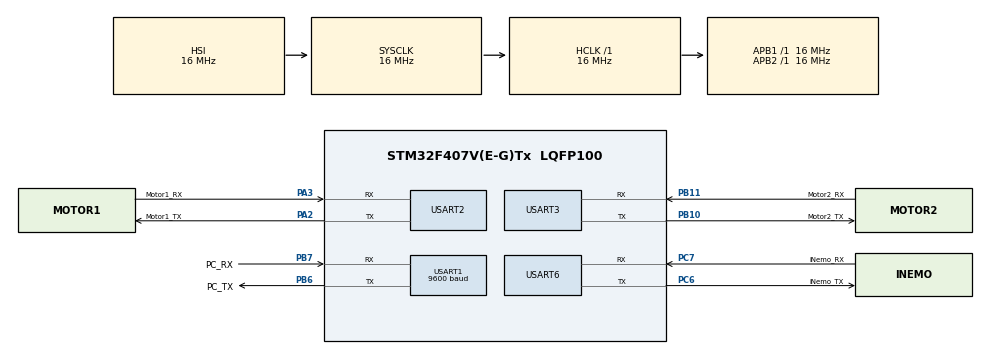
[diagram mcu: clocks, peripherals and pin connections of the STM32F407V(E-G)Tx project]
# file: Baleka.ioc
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Dma.Request0=USART3_RX
Dma.Request1=USART3_TX
Dma.Request2=USART2_RX
Dma.Request3=USART2_TX
Dma.Request4=USART6_RX
Dma.Request5=USART6_TX
Dma.Request6=USART1_RX
Dma.Request7=USART1_TX
Dma.USART1_RX.6.Direction=DMA_PERIPH_TO_MEMORY
Dma.USART1_RX.6.FIFOMode=DMA_FIFOMODE_DISABLE
Dma.USART1_RX.6.Instance=DMA2_Stream2
Dma.USART1_RX.6.MemDataAlignment=DMA_MDATAALIGN_BYTE
Dma.USART1_RX.6.MemInc=DMA_MINC_ENABLE
Dma.USART1_RX.6.Mode=DMA_CIRCULAR
Dma.USART1_RX.6.PeriphDataAlignment=DMA_PDATAALIGN_BYTE
Dma.USART1_RX.6.PeriphInc=DMA_PINC_DISABLE
Dma.USART1_RX.6.Priority=DMA_PRIORITY_HIGH
Dma.USART1_TX.7.Direction=DMA_MEMORY_TO_PERIPH
Dma.USART1_TX.7.FIFOMode=DMA_FIFOMODE_DISABLE
Dma.USART1_TX.7.Instance=DMA2_Stream7
Dma.USART1_TX.7.MemDataAlignment=DMA_MDATAALIGN_BYTE
Dma.USART1_TX.7.MemInc=DMA_MINC_ENABLE
Dma.USART1_TX.7.Mode=DMA_CIRCULAR
Dma.USART1_TX.7.PeriphDataAlignment=DMA_PDATAALIGN_BYTE
Dma.USART1_TX.7.PeriphInc=DMA_PINC_DISABLE
Dma.USART1_TX.7.Priority=DMA_PRIORITY_HIGH
Dma.USART2_RX.2.Direction=DMA_PERIPH_TO_MEMORY
Dma.USART2_RX.2.FIFOMode=DMA_FIFOMODE_DISABLE
Dma.USART2_RX.2.Instance=DMA1_Stream5
Dma.USART2_RX.2.MemDataAlignment=DMA_MDATAALIGN_BYTE
Dma.USART2_RX.2.MemInc=DMA_MINC_ENABLE
Dma.USART2_RX.2.Mode=DMA_CIRCULAR
Dma.USART2_RX.2.PeriphDataAlignment=DMA_PDATAALIGN_BYTE
Dma.USART2_RX.2.PeriphInc=DMA_PINC_DISABLE
Dma.USART2_RX.2.Priority=DMA_PRIORITY_MEDIUM
Dma.USART2_TX.3.Direction=DMA_MEMORY_TO_PERIPH
Dma.USART2_TX.3.FIFOMode=DMA_FIFOMODE_DISABLE
Dma.USART2_TX.3.Instance=DMA1_Stream6
Dma.USART2_TX.3.MemDataAlignment=DMA_MDATAALIGN_BYTE
Dma.USART2_TX.3.MemInc=DMA_MINC_ENABLE
Dma.USART2_TX.3.Mode=DMA_CIRCULAR
Dma.USART2_TX.3.PeriphDataAlignment=DMA_PDATAALIGN_BYTE
Dma.USART2_TX.3.PeriphInc=DMA_PINC_DISABLE
Dma.USART2_TX.3.Priority=DMA_PRIORITY_MEDIUM
Dma.USART3_RX.0.Direction=DMA_PERIPH_TO_MEMORY
Dma.USART3_RX.0.FIFOMode=DMA_FIFOMODE_DISABLE
Dma.USART3_RX.0.Instance=DMA1_Stream1
Dma.USART3_RX.0.MemDataAlignment=DMA_MDATAALIGN_BYTE
Dma.USART3_RX.0.MemInc=DMA_MINC_ENABLE
Dma.USART3_RX.0.Mode=DMA_CIRCULAR
Dma.USART3_RX.0.PeriphDataAlignment=DMA_PDATAALIGN_BYTE
Dma.USART3_RX.0.PeriphInc=DMA_PINC_DISABLE
Dma.USART3_RX.0.Priority=DMA_PRIORITY_MEDIUM
Dma.USART3_TX.1.Direction=DMA_MEMORY_TO_PERIPH
Dma.USART3_TX.1.FIFOMode=DMA_FIFOMODE_DISABLE
Dma.USART3_TX.1.Instance=DMA1_Stream3
Dma.USART3_TX.1.MemDataAlignment=DMA_MDATAALIGN_BYTE
Dma.USART3_TX.1.MemInc=DMA_MINC_ENABLE
Dma.USART3_TX.1.Mode=DMA_CIRCULAR
Dma.USART3_TX.1.PeriphDataAlignment=DMA_PDATAALIGN_BYTE
Dma.USART3_TX.1.PeriphInc=DMA_PINC_DISABLE
Dma.USART3_TX.1.Priority=DMA_PRIORITY_MEDIUM
Dma.USART6_RX.4.Direction=DMA_PERIPH_TO_MEMORY
Dma.USART6_RX.4.FIFOMode=DMA_FIFOMODE_DISABLE
Dma.USART6_RX.4.Instance=DMA2_Stream1
Dma.USART6_RX.4.MemDataAlignment=DMA_MDATAALIGN_BYTE
Dma.USART6_RX.4.MemInc=DMA_MINC_ENABLE
Dma.USART6_RX.4.Mode=DMA_CIRCULAR
Dma.USART6_RX.4.PeriphDataAlignment=DMA_PDATAALIGN_BYTE
Dma.USART6_RX.4.PeriphInc=DMA_PINC_DISABLE
Dma.USART6_RX.4.Priority=DMA_PRIORITY_LOW
Dma.USART6_TX.5.Direction=DMA_MEMORY_TO_PERIPH
Dma.USART6_TX.5.FIFOMode=DMA_FIFOMODE_DISABLE
Dma.USART6_TX.5.Instance=DMA2_Stream6
Dma.USART6_TX.5.MemDataAlignment=DMA_MDATAALIGN_BYTE
Dma.USART6_TX.5.MemInc=DMA_MINC_ENABLE
Dma.USART6_TX.5.Mode=DMA_CIRCULAR
Dma.USART6_TX.5.PeriphDataAlignment=DMA_PDATAALIGN_BYTE
Dma.USART6_TX.5.PeriphInc=DMA_PINC_DISABLE
Dma.USART6_TX.5.Priority=DMA_PRIORITY_LOW
FREERTOS.Queues01=TXBox,6,float,NULL;TXBoxM1,16,uint16_t,NULL;TXBoxM2,16,uint16_t,NULL;RXBoxiNemo,16,uint16_t,NULL;RXBoxM1,16,uint16_t,NULL;RXBoxM2,16,uint16_t,NULL
FREERTOS.Tasks01=defaultTask,-1,128,StartDefaultTask,Default;TXPC,3,128,StartTXPC,Default;RXPC,3,128,StartRXPC,Default;RXiNemo,0,128,StartRXiNemo,Default;TXMotor1,2,128,StartTXMotor1,Default;TXMotor2,2,128,StartTXMotor2,Default;RXMotor1,1,128,StartRXMotor1,Default;RXMotor2,1,128,StartRXMotor2,Default;CombineiNemo,3,128,StartCombineiNemo,Default;CombineM1,3,128,StartCombineM1,Default;CombineM2,3,128,StartCombineM2,Default
FREERTOS.configUSE_CO_ROUTINES=0
Mcu.Family=STM32F4
Mcu.Name=STM32F407V(E-G)Tx
Mcu.Package=LQFP100
NVIC.DMA1_Stream1_IRQn=true\:5\:0\:false\:false\:true\:true
NVIC.DMA1_Stream3_IRQn=true\:5\:0\:false\:false\:true\:true
NVIC.DMA1_Stream5_IRQn=true\:5\:0\:false\:false\:true\:true
NVIC.DMA1_Stream6_IRQn=true\:5\:0\:false\:false\:true\:true
NVIC.DMA2_Stream1_IRQn=true\:5\:0\:false\:false\:true\:true
NVIC.DMA2_Stream2_IRQn=true\:5\:0\:false\:false\:true\:true
NVIC.DMA2_Stream6_IRQn=true\:5\:0\:false\:false\:true\:true
NVIC.DMA2_Stream7_IRQn=true\:5\:0\:false\:false\:true\:true
NVIC.PriorityGroup=NVIC_PRIORITYGROUP_4
NVIC.TIM1_UP_TIM10_IRQn=true\:0\:0\:false\:false\:true\:false
NVIC.TimeBase=TIM1_UP_TIM10_IRQn
NVIC.TimeBaseIP=TIM1
PA2.GPIO_Label=Motor1_TX
PA2.Mode=Asynchronous
PA2.Signal=USART2_TX
PA3.GPIO_Label=Motor1_RX
PA3.Mode=Asynchronous
PA3.Signal=USART2_RX
PB10.GPIO_Label=Motor2_TX
PB10.Mode=Asynchronous
PB10.Signal=USART3_TX
PB11.GPIO_Label=Motor2_RX
PB11.Mode=Asynchronous
PB11.Signal=USART3_RX
PB6.GPIO_Label=PC_TX
PB6.Mode=Asynchronous
PB6.Signal=USART1_TX
PB7.GPIO_Label=PC_RX
PB7.Mode=Asynchronous
PB7.Signal=USART1_RX
PC6.GPIO_Label=iNemo_TX
PC6.Mode=Asynchronous
PC6.Signal=USART6_TX
PC7.GPIO_Label=iNemo_RX
PC7.Mode=Asynchronous
PC7.Signal=USART6_RX
ProjectManager.HeapSize=0x200
ProjectManager.StackSize=0x400
ProjectManager.TargetToolchain=TrueSTUDIO
RCC.AHBFreq_Value=16000000
RCC.APB1Freq_Value=16000000
RCC.APB2Freq_Value=16000000
RCC.CortexFreq_Value=16000000
RCC.HSE_VALUE=25000000
RCC.HSI_VALUE=16000000
RCC.LSE_VALUE=32768
RCC.SYSCLKFreq_VALUE=16000000
RCC.VCOOutputFreq_Value=192000000
USART1.BaudRate=9600
VP_FREERTOS_VS_ENABLE.Mode=Enabled
VP_SYS_VS_tim1.Mode=TIM1
board=Baleka

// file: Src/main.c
/**
  ******************************************************************************
  * File Name          : main.c
  * Description        : Main program body
  ******************************************************************************
  *
  * COPYRIGHT(c) 2016 STMicroelectronics
  *
  * Redistribution and use in source and binary forms, with or without modification,
  * are permitted provided that the following conditions are met:
  *   1. Redistributions of source code must retain the above copyright notice,
  *      this list of conditions and the following disclaimer.
  *   2. Redistributions in binary form must reproduce the above copyright notice,
  *      this list of conditions and the following disclaimer in the documentation
  *      and/or other materials provided with the distribution.
  *   3. Neither the name of STMicroelectronics nor the names of its contributors
  *      may be used to endorse or promote products derived from this software
  *      without specific prior written permission.
  *
  * THIS SOFTWARE IS PROVIDED BY THE COPYRIGHT HOLDERS AND CONTRIBUTORS "AS IS"
  * AND ANY EXPRESS OR IMPLIED WARRANTIES, INCLUDING, BUT NOT LIMITED TO, THE
  * IMPLIED WARRANTIES OF MERCHANTABILITY AND FITNESS FOR A PARTICULAR PURPOSE ARE
  * DISCLAIMED. IN NO EVENT SHALL THE COPYRIGHT HOLDER OR CONTRIBUTORS BE LIABLE
  * FOR ANY DIRECT, INDIRECT, INCIDENTAL, SPECIAL, EXEMPLARY, OR CONSEQUENTIAL
  * DAMAGES (INCLUDING, BUT NOT LIMITED TO, PROCUREMENT OF SUBSTITUTE GOODS OR
  * SERVICES; LOSS OF USE, DATA, OR PROFITS; OR BUSINESS INTERRUPTION) HOWEVER
  * CAUSED AND ON ANY THEORY OF LIABILITY, WHETHER IN CONTRACT, STRICT LIABILITY,
  * OR TORT (INCLUDING NEGLIGENCE OR OTHERWISE) ARISING IN ANY WAY OUT OF THE USE
  * OF THIS SOFTWARE, EVEN IF ADVISED OF THE POSSIBILITY OF SUCH DAMAGE.
  *
  ******************************************************************************
  */
#include "stm32f4xx_hal.h"
#include "cmsis_os.h"

/* USER CODE BEGIN Includes */

//#include "CRC.h"
//#include "serial_terminal.h"
#include <string.h>

/* USER CODE END Includes */

UART_HandleTypeDef huart1;
UART_HandleTypeDef huart2;
UART_HandleTypeDef huart3;
UART_HandleTypeDef huart6;
DMA_HandleTypeDef hdma_usart1_rx;
DMA_HandleTypeDef hdma_usart1_tx;
DMA_HandleTypeDef hdma_usart2_rx;
DMA_HandleTypeDef hdma_usart2_tx;
DMA_HandleTypeDef hdma_usart3_rx;
DMA_HandleTypeDef hdma_usart3_tx;
DMA_HandleTypeDef hdma_usart6_rx;
DMA_HandleTypeDef hdma_usart6_tx;

osThreadId defaultTaskHandle;
osThreadId TXPCHandle;
osThreadId RXPCHandle;
osThreadId RXiNemoHandle;
osThreadId TXMotor1Handle;
osThreadId TXMotor2Handle;
osThreadId RXMotor1Handle;
osThreadId RXMotor2Handle;
osThreadId CombineiNemoHandle;
osThreadId CombineM1Handle;
osThreadId CombineM2Handle;
osMessageQId TXBoxHandle;
osMessageQId TXBoxM1Handle;
osMessageQId TXBoxM2Handle;
osMessageQId RXBoxiNemoHandle;
osMessageQId RXBoxM1Handle;
osMessageQId RXBoxM2Handle;

/* USER CODE BEGIN PV */
/* Private variables ---------------------------------------------------------*/
uint8_t Ts = 5; //Sampling time in ms

uint8_t MW[2];
uint8_t MB[2];

typedef struct {                                 // Message object structure
        float current[2];
        float velocity[2];
        float position[2];
        float dist;
        float acc[3];
        float gyr[3];
        uint8_t MW[2]; //Motor write enabled
        uint8_t MB[2]; //Motor bridge enabled
} T_MEAS;

T_MEAS    *mptr;
T_MEAS    *rptr;

uint8_t TXBuf[] = {0x7E,0xAA,0xBB,0xCC,0x7E};
char *Test = "Hello";

unsigned char Motor_Success[8] = {0xA5, 0xFF, 0x00, 0x01, 0x00, 0x00, 0xCF, 0xB6};
//These arrays hold all the necessary hex commands to send to motor controllers
uint8_t Write_Access[12];
uint8_t Enable_Bridge[12];
uint8_t Disable_Bridge[12];

uint8_t Current_Command[14];
uint8_t Position_Command[14];

uint8_t Read_Current[8];
uint8_t Read_Velocity[8];
uint8_t Read_Position[8];

/* WHAT ARE ALL THE USARTS AND TIMERS USED FOR AND WHICH PINS DO THEY USE?
 *
 * USART1 = COMMS between the PC and STM	---		PB6 (TX)	 PB7 (RX)
 * USART2 = COMMS to Motor Controller 1		---		PA2 (TX)	 PA3 (RX)
 * USART3 = COMMS to Motor Controller 2		---		PC10 (TX)    PC11 (RX)
 * USART6 = COMMS to iNEMO					---		PC6 (TX)	 PC7 (RX)
 *
 * TIM1 = Timer for Center Boom Encoder		---		PE9 (A)	     PE11 (B)
 * TIM2 = Timer for Pitch Encoder			---		PA15 (A)	 PB3 (B)
 * TIM3 = Used for 5ms interrupts
 * TIM4 = Timer for Linear Encoder			---		PD12 (A)     PD13 (B)
 */

/* USER CODE END PV */

void SystemClock_Config(void);
void Error_Handler(void);
static void MX_GPIO_Init(void);
static void MX_DMA_Init(void);
static void MX_USART2_UART_Init(void);
static void MX_USART3_UART_Init(void);
static void MX_USART6_UART_Init(void);
static void MX_USART1_UART_Init(void);
void StartDefaultTask(void const * argument);
void StartTXPC(void const * argument);
void StartRXPC(void const * argument);
void StartRXiNemo(void const * argument);
void StartTXMotor1(void const * argument);
void StartTXMotor2(void const * argument);
void StartRXMotor1(void const * argument);
void StartRXMotor2(void const * argument);
void StartCombineiNemo(void const * argument);
void StartCombineM1(void const * argument);
void StartCombineM2(void const * argument);

/* USER CODE BEGIN PFP */
/* Private function prototypes -----------------------------------------------*/
osPoolDef(mpool, 16, T_MEAS);                    // Define memory pool
osPoolId mpool;

//Select Call-backs functions called after Transfer complete and Transfer error
//hdma_usart1_rx;
static void dmaComplete_DMA1_Stream1(DMA_HandleTypeDef *hdma);
//hdma_usart1_tx;
static void dmaComplete_DMA1_Stream3(DMA_HandleTypeDef *hdma);
//hdma_usart2_rx;
static void dmaComplete_DMA1_Stream5(DMA_HandleTypeDef *hdma);
//hdma_usart2_tx;
static void dmaComplete_DMA1_Stream6(DMA_HandleTypeDef *hdma);
//hdma_usart3_rx;
static void dmaComplete_DMA2_Stream1(DMA_HandleTypeDef *hdma);
//hdma_usart3_tx;
static void dmaComplete_DMA2_Stream2(DMA_HandleTypeDef *hdma);
//hdma_usart6_rx;
static void dmaComplete_DMA2_Stream6(DMA_HandleTypeDef *hdma);
//hdma_usart6_tx;
static void dmaComplete_DMA2_Stream7(DMA_HandleTypeDef *hdma);

static void DMA_Start(void);

void Motor_Init(void); //Initialises motors
void Motor_Kill(void);
void Motor_Commands(void); //Holds all commands

static void dmaError(DMA_HandleTypeDef *hdma);
/* USER CODE END PFP */

int main(void)
{

  /* MCU Configuration----------------------------------------------------------*/

  /* Reset of all peripherals, Initializes the Flash interface and the Systick. */
  HAL_Init();

  /* Configure the system clock */
  SystemClock_Config();

  /* Initialize all configured peripherals */
  MX_GPIO_Init();
  MX_DMA_Init();
  MX_USART2_UART_Init();
  MX_USART3_UART_Init();
  MX_USART6_UART_Init();
  MX_USART1_UART_Init();

  /* USER CODE BEGIN 2 */
        DMA_Start();
        //Motor_Init(); //TODO
  /* USER CODE END 2 */

  /* Create the thread(s) */
  /* definition and creation of defaultTask */
  osThreadDef(defaultTask, StartDefaultTask, osPriorityBelowNormal, 0, 128);
  defaultTaskHandle = osThreadCreate(osThread(defaultTask), NULL);

  /* definition and creation of TXPC */
  osThreadDef(TXPC, StartTXPC, osPriorityRealtime, 0, 128);
  TXPCHandle = osThreadCreate(osThread(TXPC), NULL);

  /* definition and creation of RXPC */
  osThreadDef(RXPC, StartRXPC, osPriorityRealtime, 0, 128);
  RXPCHandle = osThreadCreate(osThread(RXPC), NULL);

  /* definition and creation of RXiNemo */
  osThreadDef(RXiNemo, StartRXiNemo, osPriorityNormal, 0, 128);
  RXiNemoHandle = osThreadCreate(osThread(RXiNemo), NULL);

  /* definition and creation of TXMotor1 */
  osThreadDef(TXMotor1, StartTXMotor1, osPriorityHigh, 0, 128);
  TXMotor1Handle = osThreadCreate(osThread(TXMotor1), NULL);

  /* definition and creation of TXMotor2 */
  osThreadDef(TXMotor2, StartTXMotor2, osPriorityHigh, 0, 128);
  TXMotor2Handle = osThreadCreate(osThread(TXMotor2), NULL);

  /* definition and creation of RXMotor1 */
  osThreadDef(RXMotor1, StartRXMotor1, osPriorityAboveNormal, 0, 128);
  RXMotor1Handle = osThreadCreate(osThread(RXMotor1), NULL);

  /* definition and creation of RXMotor2 */
  osThreadDef(RXMotor2, StartRXMotor2, osPriorityAboveNormal, 0, 128);
  RXMotor2Handle = osThreadCreate(osThread(RXMotor2), NULL);

  /* definition and creation of CombineiNemo */
  osThreadDef(CombineiNemo, StartCombineiNemo, osPriorityRealtime, 0, 128);
  CombineiNemoHandle = osThreadCreate(osThread(CombineiNemo), NULL);

  /* definition and creation of CombineM1 */
  osThreadDef(CombineM1, StartCombineM1, osPriorityRealtime, 0, 128);
  CombineM1Handle = osThreadCreate(osThread(CombineM1), NULL);

  /* definition and creation of CombineM2 */
  osThreadDef(CombineM2, StartCombineM2, osPriorityRealtime, 0, 128);
  CombineM2Handle = osThreadCreate(osThread(CombineM2), NULL);

  /* Create the queue(s) */
  /* definition and creation of TXBox */
  osMessageQDef(TXBox, 6, float);
  TXBoxHandle = osMessageCreate(osMessageQ(TXBox), NULL);

  /* definition and creation of TXBoxM1 */
  osMessageQDef(TXBoxM1, 16, uint16_t);
  TXBoxM1Handle = osMessageCreate(osMessageQ(TXBoxM1), NULL);

  /* definition and creation of TXBoxM2 */
  osMessageQDef(TXBoxM2, 16, uint16_t);
  TXBoxM2Handle = osMessageCreate(osMessageQ(TXBoxM2), NULL);

  /* definition and creation of RXBoxiNemo */
  osMessageQDef(RXBoxiNemo, 16, uint16_t);
  RXBoxiNemoHandle = osMessageCreate(osMessageQ(RXBoxiNemo), NULL);

  /* definition and creation of RXBoxM1 */
  osMessageQDef(RXBoxM1, 16, uint16_t);
  RXBoxM1Handle = osMessageCreate(osMessageQ(RXBoxM1), NULL);

  /* definition and creation of RXBoxM2 */
  osMessageQDef(RXBoxM2, 16, uint16_t);
  RXBoxM2Handle = osMessageCreate(osMessageQ(RXBoxM2), NULL);

  /* Start scheduler */
  osKernelStart();

  /* We should never get here as control is now taken by the scheduler */

  /* Infinite loop */
        while (1)
        {

        }

}

/** System Clock Configuration
*/
void SystemClock_Config(void)
{

  RCC_OscInitTypeDef RCC_OscInitStruct;
  RCC_ClkInitTypeDef RCC_ClkInitStruct;

  __HAL_RCC_PWR_CLK_ENABLE();

  __HAL_PWR_VOLTAGESCALING_CONFIG(PWR_REGULATOR_VOLTAGE_SCALE1);

  RCC_OscInitStruct.OscillatorType = RCC_OSCILLATORTYPE_HSI;
  RCC_OscInitStruct.HSIState = RCC_HSI_ON;
  RCC_OscInitStruct.HSICalibrationValue = 16;
  RCC_OscInitStruct.PLL.PLLState = RCC_PLL_NONE;
  if (HAL_RCC_OscConfig(&RCC_OscInitStruct) != HAL_OK)
  {
    Error_Handler();
  }

  RCC_ClkInitStruct.ClockType = RCC_CLOCKTYPE_HCLK|RCC_CLOCKTYPE_SYSCLK
                              |RCC_CLOCKTYPE_PCLK1|RCC_CLOCKTYPE_PCLK2;
  RCC_ClkInitStruct.SYSCLKSource = RCC_SYSCLKSOURCE_HSI;
  RCC_ClkInitStruct.AHBCLKDivider = RCC_SYSCLK_DIV1;
  RCC_ClkInitStruct.APB1CLKDivider = RCC_HCLK_DIV1;
  RCC_ClkInitStruct.APB2CLKDivider = RCC_HCLK_DIV1;
  if (HAL_RCC_ClockConfig(&RCC_ClkInitStruct, FLASH_LATENCY_0) != HAL_OK)
  {
    Error_Handler();
  }

  HAL_SYSTICK_Config(HAL_RCC_GetHCLKFreq()/1000);

  HAL_SYSTICK_CLKSourceConfig(SYSTICK_CLKSOURCE_HCLK);

  /* SysTick_IRQn interrupt configuration */
  HAL_NVIC_SetPriority(SysTick_IRQn, 15, 0);
}

/* USART1 init function */
static void MX_USART1_UART_Init(void)
{

  huart1.Instance = USART1;
  huart1.Init.BaudRate = 9600;
  huart1.Init.WordLength = UART_WORDLENGTH_8B;
  huart1.Init.StopBits = UART_STOPBITS_1;
  huart1.Init.Parity = UART_PARITY_NONE;
  huart1.Init.Mode = UART_MODE_TX_RX;
  huart1.Init.HwFlowCtl = UART_HWCONTROL_NONE;
  huart1.Init.OverSampling = UART_OVERSAMPLING_16;
  if (HAL_UART_Init(&huart1) != HAL_OK)
  {
    Error_Handler();
  }

}

/* USART2 init function */
static void MX_USART2_UART_Init(void)
{

  huart2.Instance = USART2;
  huart2.Init.BaudRate = 115200;
  huart2.Init.WordLength = UART_WORDLENGTH_8B;
  huart2.Init.StopBits = UART_STOPBITS_1;
  huart2.Init.Parity = UART_PARITY_NONE;
  huart2.Init.Mode = UART_MODE_TX_RX;
  huart2.Init.HwFlowCtl = UART_HWCONTROL_NONE;
  huart2.Init.OverSampling = UART_OVERSAMPLING_16;
  if (HAL_UART_Init(&huart2) != HAL_OK)
  {
    Error_Handler();
  }

}

/* USART3 init function */
static void MX_USART3_UART_Init(void)
{

  huart3.Instance = USART3;
  huart3.Init.BaudRate = 115200;
  huart3.Init.WordLength = UART_WORDLENGTH_8B;
  huart3.Init.StopBits = UART_STOPBITS_1;
  huart3.Init.Parity = UART_PARITY_NONE;
  huart3.Init.Mode = UART_MODE_TX_RX;
  huart3.Init.HwFlowCtl = UART_HWCONTROL_NONE;
  huart3.Init.OverSampling = UART_OVERSAMPLING_16;
  if (HAL_UART_Init(&huart3) != HAL_OK)
  {
    Error_Handler();
  }

}

/* USART6 init function */
static void MX_USART6_UART_Init(void)
{

  huart6.Instance = USART6;
  huart6.Init.BaudRate = 115200;
  huart6.Init.WordLength = UART_WORDLENGTH_8B;
  huart6.Init.StopBits = UART_STOPBITS_1;
  huart6.Init.Parity = UART_PARITY_NONE;
  huart6.Init.Mode = UART_MODE_TX_RX;
  huart6.Init.HwFlowCtl = UART_HWCONTROL_NONE;
  huart6.Init.OverSampling = UART_OVERSAMPLING_16;
  if (HAL_UART_Init(&huart6) != HAL_OK)
  {
    Error_Handler();
  }

}

static void MX_DMA_Init(void)
{
  /* DMA controller clock enable */
  __HAL_RCC_DMA1_CLK_ENABLE();
  __HAL_RCC_DMA2_CLK_ENABLE();

  /* DMA interrupt init */
  /* DMA1_Stream1_IRQn interrupt configuration */
  HAL_NVIC_SetPriority(DMA1_Stream1_IRQn, 5, 0);
  HAL_NVIC_EnableIRQ(DMA1_Stream1_IRQn);
  /* DMA1_Stream3_IRQn interrupt configuration */
  HAL_NVIC_SetPriority(DMA1_Stream3_IRQn, 5, 0);
  HAL_NVIC_EnableIRQ(DMA1_Stream3_IRQn);
  /* DMA1_Stream5_IRQn interrupt configuration */
  HAL_NVIC_SetPriority(DMA1_Stream5_IRQn, 5, 0);
  HAL_NVIC_EnableIRQ(DMA1_Stream5_IRQn);
  /* DMA1_Stream6_IRQn interrupt configuration */
  HAL_NVIC_SetPriority(DMA1_Stream6_IRQn, 5, 0);
  HAL_NVIC_EnableIRQ(DMA1_Stream6_IRQn);
  /* DMA2_Stream1_IRQn interrupt configuration */
  HAL_NVIC_SetPriority(DMA2_Stream1_IRQn, 5, 0);
  HAL_NVIC_EnableIRQ(DMA2_Stream1_IRQn);
  /* DMA2_Stream2_IRQn interrupt configuration */
  HAL_NVIC_SetPriority(DMA2_Stream2_IRQn, 5, 0);
  HAL_NVIC_EnableIRQ(DMA2_Stream2_IRQn);
  /* DMA2_Stream6_IRQn interrupt configuration */
  HAL_NVIC_SetPriority(DMA2_Stream6_IRQn, 5, 0);
  HAL_NVIC_EnableIRQ(DMA2_Stream6_IRQn);
  /* DMA2_Stream7_IRQn interrupt configuration */
  HAL_NVIC_SetPriority(DMA2_Stream7_IRQn, 5, 0);
  HAL_NVIC_EnableIRQ(DMA2_Stream7_IRQn);

}

/** Pinout Configuration
*/
static void MX_GPIO_Init(void)
{

  /* GPIO Ports Clock Enable */
  __HAL_RCC_GPIOA_CLK_ENABLE();
  __HAL_RCC_GPIOB_CLK_ENABLE();
  __HAL_RCC_GPIOC_CLK_ENABLE();

}

/* USER CODE BEGIN 4 */

static void DMA_Start(void){

        HAL_UART_Transmit_DMA(&huart1, TXBuf, (uint16_t)(sizeof(TXBuf)/sizeof(TXBuf[0])));

        // if(HAL_DMA_Start_IT(&hdma_usart1_tx, (uint32_t)&TXBuf, huart1.Instance->DR, (uint32_t)(sizeof(TXBuf)/sizeof(TXBuf[0]))) != HAL_OK)
        // {
        //         Error_Handler(); //Initialization Error
        // }

        //DMA_HandleTypeDef hdma_usart1_rx;
        //DMA_HandleTypeDef hdma_usart1_tx;
        //DMA_HandleTypeDef hdma_usart2_rx;
        //DMA_HandleTypeDef hdma_usart2_tx;
        //DMA_HandleTypeDef hdma_usart3_rx;
        //DMA_HandleTypeDef hdma_usart3_tx;
        //DMA_HandleTypeDef hdma_usart6_rx;
        //DMA_HandleTypeDef hdma_usart6_tx;

        // //hdma_usart1_rx;#########################################################################################################################################
        // //Initialize DMA Stream
        // if(HAL_DMA_Init(&hdma_usart1_rx) != HAL_OK)
        // {
        //         /* Initialization Error */
        //         Error_Handler();
        // }
        // //Select Call-backs functions called after Transfer complete and Transfer error
        // // hdma_usart1_rx.XferCpltCallback  = &dmaComplete_DMA1_Stream1;
        // // hdma_usart1_rx.XferErrorCallback = &dmaError;
        // HAL_DMA_RegisterCallback(&hdma_usart1_rx, HAL_DMA_XFER_CPLT_CB_ID, dmaComplete_DMA1_Stream1);
        // HAL_DMA_RegisterCallback(&hdma_usart1_rx, HAL_DMA_XFER_ERROR_CB_ID, dmaError);
        // //TODO Setup
        // // if(HAL_DMA_Start_IT(&hdma_usart1_rx, (uint32_t)TXBuf, (uint32_t)&huart1.Instance->DR, (uint32_t)(sizeof(TXBuf)/sizeof(TXBuf[0]))) != HAL_OK)
        // // {
        // //         Error_Handler(); //Initialization Error
        // // }
        //
        // //hdma_usart1_tx;#########################################################################################################################################
        // //Select Call-backs functions called after Transfer complete and Transfer error
        // HAL_DMA_RegisterCallback(&hdma_usart1_tx, HAL_DMA_XFER_CPLT_CB_ID, dmaComplete_DMA1_Stream3);
        // HAL_DMA_RegisterCallback(&hdma_usart1_tx, HAL_DMA_XFER_ERROR_CB_ID, dmaError);
        //
        // //Initialize DMA Stream
        // if(HAL_DMA_Init(&hdma_usart1_tx) != HAL_OK)
        // {
        //         /* Initialization Error */
        //         Error_Handler();
        // }
        //
        // /*if(HAL_DMA_Start(&hdma_usart1_tx, (uint32_t)&TXBuf, huart1.Instance->DR, (uint32_t)(sizeof(TXBuf)/sizeof(TXBuf[0]))) != HAL_OK)
        //    {
        //         Error_Handler(); //Initialization Error
        //    }
        //  */
        // //__HAL_DMA_ENABLE(&hdma_usart1_tx);
        //
        // if(HAL_DMA_Start_IT(&hdma_usart1_tx, (uint32_t)&TXBuf, huart1.Instance->DR, (uint32_t)(sizeof(TXBuf)/sizeof(TXBuf[0]))) != HAL_OK)
        // {
        //         Error_Handler();  //Initialization Error
        // }
        //
        // //hdma_usart2_rx;#########################################################################################################################################
        // //Initialize DMA Stream
        // if(HAL_DMA_Init(&hdma_usart2_rx) != HAL_OK)
        // {
        //         /* Initialization Error */
        //         Error_Handler();
        // }
        // //Select Call-backs functions called after Transfer complete and Transfer error
        // hdma_usart2_rx.XferCpltCallback  = &dmaComplete_DMA1_Stream5;
        // hdma_usart2_rx.XferErrorCallback = &dmaError;
        // //TODO Setup
        // // if(HAL_DMA_Start_IT(&hdma_usart1_tx, (uint32_t)TXBuf, (uint32_t)&(huart1->DR), (uint32_t)(sizeof(TXBuf)/sizeof(TXBuf[0]))) != HAL_OK)
        // // {
        // //         Error_Handler(); //Initialization Error
        // // }
        //
        // //hdma_usart2_tx;#########################################################################################################################################
        // //Initialize DMA Stream
        // if(HAL_DMA_Init(&hdma_usart2_tx) != HAL_OK)
        // {
        //         /* Initialization Error */
        //         Error_Handler();
        // }
        // //Select Call-backs functions called after Transfer complete and Transfer error
        // hdma_usart2_tx.XferCpltCallback  = &dmaComplete_DMA1_Stream6;
        // hdma_usart2_tx.XferErrorCallback = &dmaError;
        // //TODO Setup
        // // if(HAL_DMA_Start_IT(&hdma_usart1_tx, (uint32_t)TXBuf, (uint32_t)&(huart1->DR), (uint32_t)(sizeof(TXBuf)/sizeof(TXBuf[0]))) != HAL_OK)
        // // {
        // //         Error_Handler(); //Initialization Error
        // // }
        //
        // //hdma_usart3_rx;#########################################################################################################################################
        // //Initialize DMA Stream
        // if(HAL_DMA_Init(&hdma_usart3_rx) != HAL_OK)
        // {
        //         /* Initialization Error */
        //         Error_Handler();
        // }
        // //Select Call-backs functions called after Transfer complete and Transfer error
        // hdma_usart3_rx.XferCpltCallback  = &dmaComplete_DMA2_Stream1;
        // hdma_usart3_rx.XferErrorCallback = &dmaError;
        // //TODO Setup
        // // if(HAL_DMA_Start_IT(&hdma_usart1_tx, (uint32_t)TXBuf, (uint32_t)&(huart1->DR), (uint32_t)(sizeof(TXBuf)/sizeof(TXBuf[0]))) != HAL_OK)
        // // {
        // //         Error_Handler(); //Initialization Error
        // // }
        //
        // //hdma_usart3_tx;#########################################################################################################################################
        // //Initialize DMA Stream
        // if(HAL_DMA_Init(&hdma_usart3_tx) != HAL_OK)
        // {
        //         /* Initialization Error */
        //         Error_Handler();
        // }
        // //Select Call-backs functions called after Transfer complete and Transfer error
        // hdma_usart3_tx.XferCpltCallback  = &dmaComplete_DMA2_Stream2;
        // hdma_usart3_tx.XferErrorCallback = &dmaError;
        // //TODO Setup
        // // if(HAL_DMA_Start_IT(&hdma_usart1_tx, (uint32_t)TXBuf, (uint32_t)&(huart1->DR), (uint32_t)(sizeof(TXBuf)/sizeof(TXBuf[0]))) != HAL_OK)
        // // {
        // //         Error_Handler(); //Initialization Error
        // // }
        //
        // //hdma_usart6_rx;#########################################################################################################################################
        // //Initialize DMA Stream
        // if(HAL_DMA_Init(&hdma_usart6_rx) != HAL_OK)
        // {
        //         /* Initialization Error */
        //         Error_Handler();
        // }
        // //Select Call-backs functions called after Transfer complete and Transfer error
        // hdma_usart6_rx.XferCpltCallback  = &dmaComplete_DMA2_Stream6;
        // hdma_usart6_rx.XferErrorCallback = &dmaError;
        // //TODO Setup
        // // if(HAL_DMA_Start_IT(&hdma_usart1_tx, (uint32_t)TXBuf, (uint32_t)&(huart1->DR), (uint32_t)(sizeof(TXBuf)/sizeof(TXBuf[0]))) != HAL_OK)
        // // {
        // //         Error_Handler(); //Initialization Error
        // // }
        //
        // //hdma_usart6_tx;#########################################################################################################################################
        // //Initialize DMA Stream
        // if(HAL_DMA_Init(&hdma_usart6_tx) != HAL_OK)
        // {
        //         /* Initialization Error */
        //         Error_Handler();
        // }
        // //Select Call-backs functions called after Transfer complete and Transfer error
        // hdma_usart6_tx.XferCpltCallback  = &dmaComplete_DMA2_Stream7;
        // hdma_usart6_tx.XferErrorCallback = &dmaError;
        // //TODO Setup
        // // if(HAL_DMA_Start_IT(&hdma_usart1_tx, (uint32_t)TXBuf, (uint32_t)&(huart1->DR), (uint32_t)(sizeof(TXBuf)/sizeof(TXBuf[0]))) != HAL_OK)
        // // {
        // //         Error_Handler(); //Initialization Error
        // // }

}

// uint8_t Write_Access[11];
// uint8_t Enable_Bridge[11];
// uint8_t Disable_Bridge[20];
//
// uint8_t Current_Command[13];
// uint8_t Position_Command[13];
//
// uint8_t Read_Current[7];
// uint8_t Read_Velocity[7];
// uint8_t Read_Position[7];

// void Motor_Init(void){
//         //Gain write access and check granted
//         for (i=0;i++;i<20){
//         TXBufUART2[i] = Write_Access[i];
//         }
//         osDelay(100);
//         // if(TM_USART_FindString(USART2, Motor_Success)) {
//         //         TM_USART_ClearBuffer(USART2);
//         //         MW[0] = 1;
//         // }
//         // else{
//         //         MW[0] = 0;
//         // }
//
//         HAL_UART_Transmit_DMA(&huart3,(uint8_t *)Write_Access, strlen(test));
//         osDelay(100);
//         // if(TM_USART_FindString(USART3, Motor_Success)) {
//         //         TM_USART_ClearBuffer(USART3);
//         //         MW[1] = 1;
//         // }
//         // else{
//         //         MW[1] = 0;
//         // }
//
//         //Enable bridge and check granted
//         HAL_UART_Transmit_DMA(&huart2, (uint8_t *)Enable_Bridge, strlen(test));
//         osDelay(100);
//         // if(TM_USART_FindString(USART2, Motor_Success)) {
//         //         TM_USART_ClearBuffer(USART2);
//         //         MB[0] = 1;
//         // }
//         // else{
//         //         MB[0] = 0;
//         // }
//
//         HAL_UART_Transmit_DMA(&huart3, (uint8_t *)Enable_Bridge, strlen(test));
//         osDelay(100);
//         // if(TM_USART_FindString(USART3, Motor_Success)) {
//         //         TM_USART_ClearBuffer(USART3);
//         //         MB[1] = 1;
//         // }
//         // else{
//         //         MB[1] = 0;
//         // }
// }

// void Motor_Kill(void){
//
//         //Disable bridge and check granted
//         HAL_UART_Transmit_DMA(&huart1, Disable_Bridge, 20);
//         osDelay(20);
//         // if(TM_USART_FindString(USART2, Motor_Success)) {
//         //         TM_USART_ClearBuffer(USART2);
//         //         MB[0] = 0;
//         // }
//
//         HAL_UART_Transmit_DMA(&huart1, Disable_Bridge, 20);
//         osDelay(20);
//         // if(TM_USART_FindString(USART3, Motor_Success)) {
//         //         TM_USART_ClearBuffer(USART3);
//         //         MB[1] = 0;
//         // }
// }

void Motor_Commands(void){
        Write_Access[0] = 0xA5;
        Write_Access[1] = 0x3F;
        Write_Access[2] = 0x02;
        Write_Access[3] = 0x07;
        Write_Access[4] = 0x00;
        Write_Access[5] = 0x01;
        Write_Access[6] = 0xB3;
        Write_Access[7] = 0xE7;
        Write_Access[8] = 0x0F;
        Write_Access[9] = 0x00;
        Write_Access[10] = 0x10;
        Write_Access[11] = 0x3E;

        Enable_Bridge[0] = 0xA5;
        Enable_Bridge[1] = 0x3F;
        Enable_Bridge[2] = 0x02;
        Enable_Bridge[3] = 0x01;
        Enable_Bridge[4] = 0x00;
        Enable_Bridge[5] = 0x01;
        Enable_Bridge[6] = 0x01;
        Enable_Bridge[7] = 0x47;
        Enable_Bridge[8] = 0x00;
        Enable_Bridge[9] = 0x00;
        Enable_Bridge[10] = 0x00;
        Enable_Bridge[11] = 0x00;

        Disable_Bridge[0] = 0xA5;
        Disable_Bridge[1] = 0x3F;
        Disable_Bridge[2] = 0x02;
        Disable_Bridge[3] = 0x01;
        Disable_Bridge[4] = 0x00;
        Disable_Bridge[5] = 0x01;
        Disable_Bridge[6] = 0x01;
        Disable_Bridge[7] = 0x47;
        Disable_Bridge[8] = 0x01;
        Disable_Bridge[9] = 0x00;
        Disable_Bridge[10] = 0x33;
        Disable_Bridge[11] = 0x31;

        Current_Command[0] = 0xA5;
        Current_Command[1] = 0x3F;
        Current_Command[2] = 0x02;
        Current_Command[3] = 0x45;
        Current_Command[4] = 0x00;
        Current_Command[5] = 0x02;
        Current_Command[6] = 0xF0;
        Current_Command[7] = 0x49;
        Current_Command[8] = 0x48; //Data to be set
        Current_Command[9] = 0x01; //Data to be set
        Current_Command[10] = 0x00; //Data to be set
        Current_Command[11] = 0x00; //Data to be set
        Current_Command[12] = 0xDC;
        Current_Command[13] = 0x6F;

        Read_Current[0] = 0xA5;
        Read_Current[1] = 0x3F;
        Read_Current[2] = 0x01;
        Read_Current[3] = 0x10;
        Read_Current[4] = 0x03;
        Read_Current[5] = 0x01;
        Read_Current[6] = 0xBB;
        Read_Current[7] = 0x9B;

        Read_Velocity[0] = 0xA5;
        Read_Velocity[1] = 0x3F;
        Read_Velocity[2] = 0x01;
        Read_Velocity[3] = 0x11;
        Read_Velocity[4] = 0x02;
        Read_Velocity[5] = 0x02;
        Read_Velocity[6] = 0x8F;
        Read_Velocity[7] = 0xF9;

        Read_Position[0] = 0xA5;
        Read_Position[1] = 0x3F;
        Read_Position[2] = 0x01;
        Read_Position[3] = 0x12;
        Read_Position[4] = 0x00;
        Read_Position[5] = 0x02;
        Read_Position[6] = 0xB0;
        Read_Position[7] = 0xCB;
}

//Select Call-backs functions called after Transfer complete and Transfer error
//hdma_usart1_rx;
static void dmaComplete_DMA1_Stream1(DMA_HandleTypeDef *hdma){
        __NOP();
}
//hdma_usart1_tx;
static void dmaComplete_DMA1_Stream3(DMA_HandleTypeDef *hdma){
        __NOP();
}
//hdma_usart2_rx;
static void dmaComplete_DMA1_Stream5(DMA_HandleTypeDef *hdma){
        __NOP();
}
//hdma_usart2_tx;
static void dmaComplete_DMA1_Stream6(DMA_HandleTypeDef *hdma){
        __NOP();
}
//hdma_usart3_rx;
static void dmaComplete_DMA2_Stream1(DMA_HandleTypeDef *hdma){
        __NOP();
}
//hdma_usart3_tx;
static void dmaComplete_DMA2_Stream2(DMA_HandleTypeDef *hdma){
        __NOP();
}
//hdma_usart6_rx;
static void dmaComplete_DMA2_Stream6(DMA_HandleTypeDef *hdma){
        __NOP();
}
//hdma_usart6_tx;
static void dmaComplete_DMA2_Stream7(DMA_HandleTypeDef *hdma){
        __NOP();
}

static void dmaError(DMA_HandleTypeDef *hdma){
        printf("DMA Error!");
}
/* USER CODE END 4 */

/* StartDefaultTask function */
void StartDefaultTask(void const * argument)
{

  /* USER CODE BEGIN 5 */
        /* Infinite loop */
//        osDelay(5000);
//        Motor_Init();
//        osDelay(10000);
//        Motor_Kill();
        // char str[32];
        // uint8_t tt = 0xAA;
        // sprintf(str, "%d", tt);
        // HAL_UART_Transmit(&huart1,(uint8_t *)str, 100,500);
        // osDelay(100);
        // HAL_UART_Transmit_DMA(&huart1,(uint8_t *)test, strlen(test));
        for(;; )
        {

                osDelay(500); //TODO Remove
        }
  /* USER CODE END 5 */
}

/* StartTXPC function */
void StartTXPC(void const * argument)
{
  /* USER CODE BEGIN StartTXPC */
        /* Infinite loop */
        for(;; )
        {
                //HAL_UART_Transmit_DMA(&huart1,(uint8_t *)TXBuf, strlen(TXBuf)); //TODO ...
                osDelay(Ts);
        }
  /* USER CODE END StartTXPC */
}

/* StartRXPC function */
void StartRXPC(void const * argument)
{
  /* USER CODE BEGIN StartRXPC */
        /* Infinite loop */
        for(;; )
        {
                // mptr = osPoolAlloc(mpool);               // Allocate memory for the message
                //                                          //TODO Put code here: mptr->voltage = 223.72;
                // osMessagePut(CombineBoxHandle, (uint32_t)mptr, osWaitForever); // Send Message
                // osThreadYield(); // Cooperative multitasking
                // // We are done here, exit this thread
                osDelay(Ts);
        }
  /* USER CODE END StartRXPC */
}

/* StartRXiNemo function */
void StartRXiNemo(void const * argument)
{
  /* USER CODE BEGIN StartRXiNemo */
        /* Infinite loop */
        for(;; )
        {
                /*mptr = osPoolAlloc(mpool);         // Allocate memory for the message
                   mptr->acc[0] = 1;                                   //TODO Put code here: mptr->voltage = 223.72;
                   mptr->acc[1] = 2;
                   mptr->acc[2] = 1;
                   mptr->gyr[0] = 2;
                   mptr->gyr[1] = 1;
                   mptr->gyr[2] = 2;
                   mptr->dist = 1;
                   osMessagePut(RXBoxiNemoHandle, (uint32_t)mptr, osWaitForever); // Send Message
                   osThreadYield(); // Cooperative multitasking
                   // We are done here, exit this thread*/
                osDelay(Ts);
        }
  /* USER CODE END StartRXiNemo */
}

/* StartTXMotor1 function */
void StartTXMotor1(void const * argument)
{
  /* USER CODE BEGIN StartTXMotor1 */
        /* Infinite loop */
        for(;; )
        {
                osDelay(Ts);
        }
  /* USER CODE END StartTXMotor1 */
}

/* StartTXMotor2 function */
void StartTXMotor2(void const * argument)
{
  /* USER CODE BEGIN StartTXMotor2 */
        /* Infinite loop */
        for(;; )
        {
                osDelay(Ts);
        }
  /* USER CODE END StartTXMotor2 */
}

/* StartRXMotor1 function */
void StartRXMotor1(void const * argument)
{
  /* USER CODE BEGIN StartRXMotor1 */
        /* Infinite loop */
        for(;; )
        {
                /*mptr = osPoolAlloc(mpool);         // Allocate memory for the message
                   mptr->current[0] = 5.5;
                   mptr->velocity[0] = 5.5;
                   mptr->position[0] = 5.5;                                   //TODO Put code here: mptr->voltage = 223.72;
                   osMessagePut(RXBoxM1Handle, (uint32_t)mptr, osWaitForever); // Send Message
                   osThreadYield(); // Cooperative multitasking
                   // We are done here, exit this thread*/
                osDelay(Ts);
        }
  /* USER CODE END StartRXMotor1 */
}

/* StartRXMotor2 function */
void StartRXMotor2(void const * argument)
{
  /* USER CODE BEGIN StartRXMotor2 */
        /* Infinite loop */
        for(;; )
        {
                /* mptr = osPoolAlloc(mpool);   // Allocate memory for the message
                   mptr->current[0] = 7.7;
                   mptr->velocity[0] = 7.7;
                   mptr->position[0] = 7.7;                             //TODO Put code here: mptr->voltage = 223.72;
                   osMessagePut(RXBoxM2Handle, (uint32_t)mptr, osWaitForever); // Send Message
                   osThreadYield(); // Cooperative multitasking
                   // We are done here, exit this thread*/
                osDelay(Ts);
        }
  /* USER CODE END StartRXMotor2 */
}

/* StartCombineiNemo function */
void StartCombineiNemo(void const * argument)
{
  /* USER CODE BEGIN StartCombineiNemo */
        /* Infinite loop */
        //osEvent evt;
        for(;; )
        {
                /*evt = osMessageGet(RXBoxiNemoHandle, osWaitForever); // wait for message
                   if (evt.status == osEventMessage) {
                        rptr = evt.value.p;

                        // TXBuf[7] = rptr->dist; //TODO
                        // TXBuf[8] = rptr->acc[0];
                        // TXBuf[9] = rptr->acc[1];
                        // TXBuf[10] = rptr->acc[2];
                        // TXBuf[11] = rptr->gyr[0];
                        // TXBuf[12] = rptr->gyr[1];
                        // TXBuf[13] = rptr->gyr[2];

                        osPoolFree(mpool, rptr); // free memory allocated for message
                   }*/
        }
  /* USER CODE END StartCombineiNemo */
}

/* StartCombineM1 function */
void StartCombineM1(void const * argument)
{
  /* USER CODE BEGIN StartCombineM1 */
        /* Infinite loop */
        //osEvent evt;
        for(;; )
        {
                /*evt = osMessageGet(RXBoxM1Handle, osWaitForever); // wait for message
                   if (evt.status == osEventMessage) {
                        rptr = evt.value.p;

                        // TXBuf[1] = rptr->current[0]; //TODO
                        // TXBuf[3] = rptr->velocity[0];
                        // TXBuf[5] = rptr->position[0];

                        osPoolFree(mpool, rptr); // free memory allocated for message
                   }*/
        }
  /* USER CODE END StartCombineM1 */
}

/* StartCombineM2 function */
void StartCombineM2(void const * argument)
{
  /* USER CODE BEGIN StartCombineM2 */
        /* Infinite loop */
        //osEvent evt;
        for(;; )
        {
                /*evt = osMessageGet(RXBoxM2Handle, osWaitForever); // wait for message
                   if (evt.status == osEventMessage) {
                        rptr = evt.value.p;

                        // TXBuf[2] = rptr->current[1]; //TODO
                        // TXBuf[4] = rptr->velocity[1];
                        // TXBuf[6] = rptr->position[1];

                        osPoolFree(mpool, rptr); // free memory allocated for message
                   }*/
        }
  /* USER CODE END StartCombineM2 */
}

void HAL_TIM_PeriodElapsedCallback(TIM_HandleTypeDef *htim)
{
  if (htim->Instance == TIM1) {
    HAL_IncTick();
  }
}

void Error_Handler(void)
{
        while(1)
        {
        }
}

/************************ (C) COPYRIGHT STMicroelectronics *****END OF FILE****/
